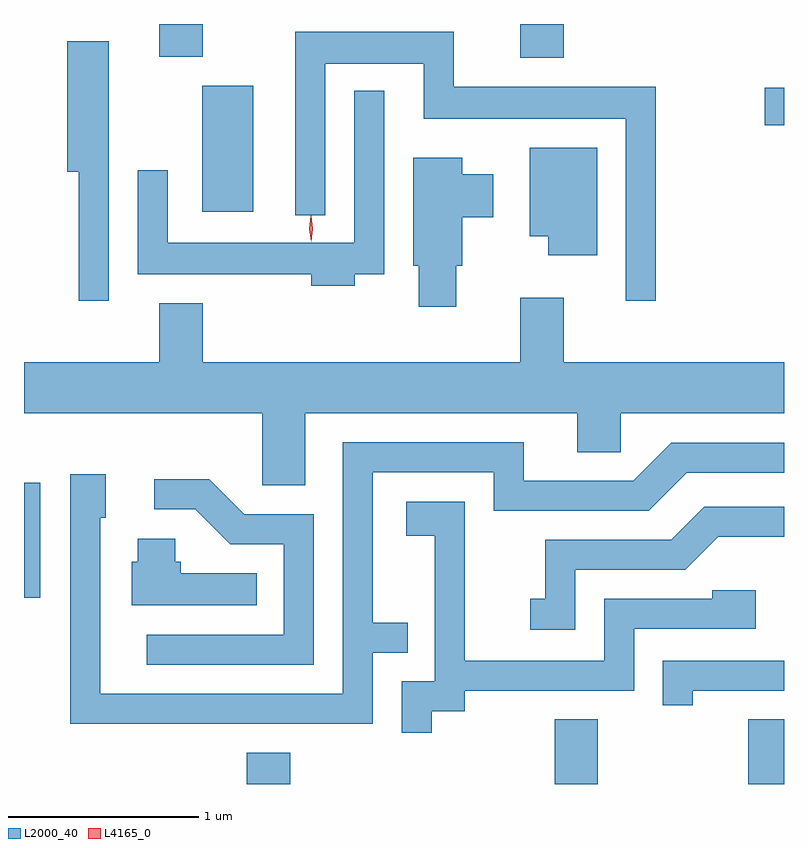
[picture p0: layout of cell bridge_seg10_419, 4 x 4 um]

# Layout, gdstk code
import gdstk
lib = gdstk.Library(unit=1e-6, precision=1e-09)
def R(c, l, rs):  # rectangles x0, y0, x1, y1
    for r in rs: c.add(gdstk.rectangle(r[:2], r[2:], *l))
def P(c, l, *ps):  # polygons
    for p in ps: c.add(gdstk.Polygon(p, *l))
L2000_40 = (2000, 40)
L4165_0 = (4165, 0)

bridge_seg10_419 = lib.new_cell('bridge_seg10_419')
R(bridge_seg10_419, L2000_40, [(1397.281,2131.944,1397.509,2132.109), (1398.901,2131.944,1399.129,2132.284), (1399.921,2131.944,1400.108,2132.284), (1396.108,2132.923,1396.194,2133.529), (1397.046,2134.956,1397.314,2135.619), (1400.006,2135.411,1400.108,2135.609), (1398.721,2135.766,1398.949,2135.944), (1396.821,2135.771,1397.049,2135.944)])
P(bridge_seg10_419, L2000_40, [(1399.434,2135.614),(1398.369,2135.614),(1398.369,2135.904),(1397.536,2135.904),(1397.536,2134.938),(1397.694,2134.938),(1397.694,2135.736),(1398.211,2135.736),(1398.211,2135.446),(1399.276,2135.446),(1399.276,2134.488),(1399.434,2134.488)],
  [(1396.554,2135.854),(1396.336,2135.854),(1396.336,2135.166),(1396.396,2135.166),(1396.396,2134.488),(1396.554,2134.488)],
  [(1397.849,2134.626),(1398.004,2134.626),(1398.004,2135.593),(1397.846,2135.593),(1397.846,2134.794),(1396.864,2134.794),(1396.864,2135.173),(1396.706,2135.173),(1396.706,2134.626),(1397.621,2134.626),(1397.621,2134.566),(1397.849,2134.566)],
  [(1399.124,2135.294),(1398.771,2135.294),(1398.771,2134.826),(1398.866,2134.826),(1398.866,2134.726),(1399.124,2134.726)],
  [(1398.384,2134.671),(1398.414,2134.671),(1398.414,2134.926),(1398.579,2134.926),(1398.579,2135.154),(1398.414,2135.154),(1398.414,2135.239),(1398.156,2135.239),(1398.156,2134.671),(1398.186,2134.671),(1398.186,2134.456),(1398.384,2134.456)],
  [(1397.589,2133.896),(1399.021,2133.896),(1399.021,2133.691),(1399.249,2133.691),(1399.249,2133.896),(1400.108,2133.896),(1400.108,2134.164),(1398.949,2134.164),(1398.949,2134.504),(1398.721,2134.504),(1398.721,2134.164),(1397.049,2134.164),(1397.049,2134.474),(1396.821,2134.474),(1396.821,2134.164),(1396.108,2134.164),(1396.108,2133.896),(1397.361,2133.896),(1397.361,2133.516),(1397.589,2133.516)],
  [(1397.944,2132.636),(1398.128,2132.636),(1398.128,2132.794),(1397.944,2132.794),(1397.944,2133.586),(1398.581,2133.586),(1398.581,2133.381),(1399.397,2133.381),(1399.597,2133.581),(1400.108,2133.581),(1400.108,2133.739),(1399.514,2133.739),(1399.314,2133.539),(1398.739,2133.539),(1398.739,2133.744),(1397.786,2133.744),(1397.786,2132.419),(1396.509,2132.419),(1396.509,2133.346),(1396.539,2133.346),(1396.539,2133.574),(1396.351,2133.574),(1396.351,2132.261),(1397.944,2132.261)],
  [(1397.634,2133.364),(1397.267,2133.364),(1397.082,2133.549),(1396.793,2133.549),(1396.793,2133.391),(1397.009,2133.391),(1397.194,2133.206),(1397.476,2133.206),(1397.476,2132.729),(1396.753,2132.729),(1396.753,2132.571),(1397.634,2132.571)],
  [(1398.254,2132.326),(1398.429,2132.326),(1398.429,2132.436),(1399.319,2132.436),(1399.319,2132.761),(1399.959,2132.761),(1399.959,2132.964),(1399.731,2132.964),(1399.731,2132.919),(1399.161,2132.919),(1399.161,2132.594),(1398.429,2132.594),(1398.429,2133.429),(1398.121,2133.429),(1398.121,2133.251),(1398.271,2133.251),(1398.271,2132.484),(1398.096,2132.484),(1398.096,2132.213),(1398.254,2132.213)],
  [(1399.009,2133.071),(1399.587,2133.071),(1399.762,2133.246),(1400.108,2133.246),(1400.108,2133.404),(1399.689,2133.404),(1399.514,2133.229),(1398.851,2133.229),(1398.851,2132.919),(1398.773,2132.919),(1398.773,2132.756),(1399.009,2132.756)],
  [(1397.333,2133.054),(1396.934,2133.054),(1396.934,2133.114),(1396.904,2133.114),(1396.904,2133.234),(1396.706,2133.234),(1396.706,2133.114),(1396.676,2133.114),(1396.676,2132.886),(1397.333,2132.886)],
  [(1399.629,2132.436),(1400.108,2132.436),(1400.108,2132.594),(1399.471,2132.594),(1399.471,2132.358),(1399.629,2132.358)])
P(bridge_seg10_419, L4165_0, [(1397.619,2134.797),(1397.619,2134.798),(1397.609,2134.867),(1397.618,2134.936),(1397.619,2134.936),(1397.619,2134.936),(1397.629,2134.867),(1397.62,2134.798)])

lib.write_gds('bridge_seg10_419.gds')
